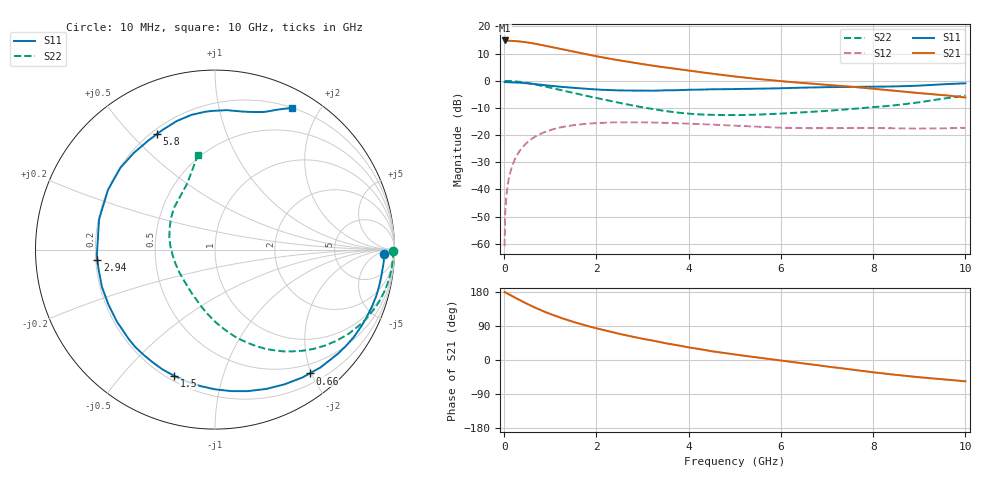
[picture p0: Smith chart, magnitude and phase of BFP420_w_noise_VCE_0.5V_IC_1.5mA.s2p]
! Infineon Technologies  Discrete & RF Semiconductors
! BFP420
! VCE =  0.5 V,  IC =  1.5 mA
! Common Emitter S-Parameters:  Jan 2016
# GHz  S  MA  R  50
!  f  S11  S21  S12  S22
! GHz  MAG  ANG  MAG  ANG  MAG  ANG  MAG  ANG
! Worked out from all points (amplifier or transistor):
!   233 points, 10 MHz to 10 GHz, reference 50 ohm
!   highest |S21| = 14.8 dB at 10 MHz (marker M1)
!   |S21| within 3 dB of that: start of sweep to 1.183 GHz
!   unconditionally stable (mu >= 1): 4.127 GHz to end of sweep
!   at 200 MHz: K = 0.03, MSG = 22.4 dB, |S12| = -30.2 dB
!   at 1.74 GHz: K = 0.37, MSG = 12.9 dB, |S12| = -15.9 dB
!   at 10 GHz: K = 1.22, MAG = 2.8 dB, |S12| = -17.3 dB
!   lowest NFmin = 0.52 dB at 900 MHz
!   S11 on the Smith chart (normalised r, x): 10 MHz: 28, -13; 660 MHz: 0.35, -1.97; 1.5 GHz: 0.23, -0.70; 2.94 GHz: 0.21, -0.04; 5.8 GHz: 0.22, +0.59; 10 GHz: 0.21, +1.66
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0.01  0.9428 -1.5  5.517 179.4  0.0009 86.4  0.9925 -0.3
0.02  0.941 -1.6  5.365 179.1  0.003 86.5  0.993 -1.1
0.04  0.942 -3.3  5.387 177.6  0.0061 88.4  0.9928 -2.2
0.08  0.9402 -6.6  5.419 174.9  0.0123 85.6  0.9909 -4.5
0.135  0.9374 -11.0  5.426 171.3  0.0209 82.9  0.9868 -7.7
0.3  0.9251 -24.4  5.323 160.5  0.0457 74.8  0.9622 -16.8
0.4  0.9134 -32.4  5.212 154.2  0.0598 69.8  0.9389 -22.0
0.66  0.8686 -52.6  4.82 138.8  0.092 57.4  0.8603 -34.8
0.8  0.8445 -62.8  4.573 131.2  0.1066 51.5  0.8136 -41.1
1  0.8095 -76.9  4.221 121.4  0.1236 43.8  0.7455 -49.1
1.2  0.7787 -89.9  3.879 112.4  0.1372 36.9  0.6814 -56.3
1.5  0.7391 -107.9  3.432 100.6  0.1519 27.9  0.5952 -65.7
1.68  0.7192 -117.9  3.196 94.1  0.1583 23.1  0.5502 -70.7
2.2  0.6781 -143.7  2.629 77.5  0.1695 11.3  0.4425 -84.0
2.94  0.6576 -175.0  2.06 57.7  0.1718 -2.1  0.3316 -102.3
3.4  0.661 168.8  1.802 46.9  0.1685 -8.7  0.2847 -114.5
4.5  0.6968 139.1  1.352 23.1  0.1562 -20.4  0.2359 -147.1
5.1  0.704 128.3  1.172 12.9  0.1473 -24.0  0.2335 -162.5
5.8  0.7198 116.8  1.019 1.9  0.1386 -26.6  0.2433 -179.5
6.8  0.7549 102.5  0.864 -13.8  0.1337 -28.2  0.2718 158.9
8.4  0.7839 78.9  0.662 -38.0  0.1335 -33.2  0.3485 124.8
10  0.8971 61.6  0.492 -56.3  0.1359 -34.9  0.5332 100.4
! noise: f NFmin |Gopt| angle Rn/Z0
0.9  0.52  0.55  33  0.27
1.8  1.07  0.35  77  0.21
2.4  1.18  0.36  101  0.18
3  1.41  0.36  134  0.13
4  1.68  0.4  -172  0.1
5  2.08  0.44  -130  0.32
6  2.89  0.57  -114  0.39
